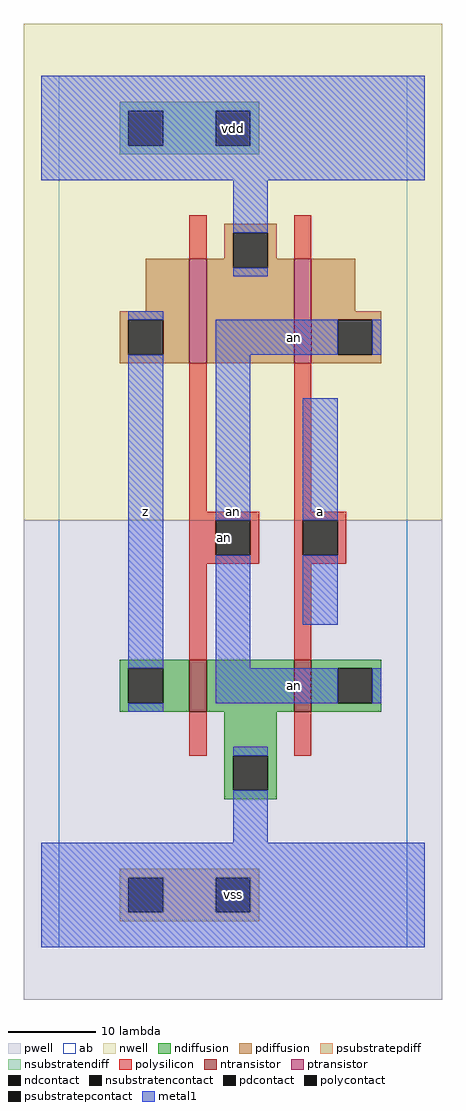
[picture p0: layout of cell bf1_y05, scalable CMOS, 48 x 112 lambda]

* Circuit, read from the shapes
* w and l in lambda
.subckt bf1_y05 a an vdd vss z
M1 vss an z vss nfet w=6 l=2
M2 an a vss vss nfet w=6 l=2
M3 vdd an z vdd pfet w=12 l=2
M4 an a vdd vdd pfet w=12 l=2
.ends

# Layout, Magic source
magic
tech scmos
<< ab >>
rect 0 0 40 100
<< pwell >>
rect -4 -6 44 49
<< nwell >>
rect -4 49 44 106
<< polysilicon >>
rect 15 79 17 84
rect 27 79 29 84
rect 15 50 17 67
rect 27 50 29 67
rect 15 49 23 50
rect 15 45 18 49
rect 22 45 23 49
rect 15 44 23 45
rect 27 49 33 50
rect 27 45 28 49
rect 32 45 33 49
rect 27 44 33 45
rect 15 33 17 44
rect 27 33 29 44
rect 15 22 17 27
rect 27 22 29 27
<< ndiffusion >>
rect 7 32 15 33
rect 7 28 8 32
rect 12 28 15 32
rect 7 27 15 28
rect 17 27 27 33
rect 29 32 37 33
rect 29 28 32 32
rect 36 28 37 32
rect 29 27 37 28
rect 19 22 25 27
rect 19 18 20 22
rect 24 18 25 22
rect 19 17 25 18
<< pdiffusion >>
rect 19 82 25 83
rect 19 79 20 82
rect 10 73 15 79
rect 7 72 15 73
rect 7 68 8 72
rect 12 68 15 72
rect 7 67 15 68
rect 17 78 20 79
rect 24 79 25 82
rect 24 78 27 79
rect 17 67 27 78
rect 29 73 34 79
rect 29 72 37 73
rect 29 68 32 72
rect 36 68 37 72
rect 29 67 37 68
<< metal1 >>
rect -2 88 42 100
rect 20 82 24 88
rect 20 77 24 78
rect 8 72 12 73
rect 8 32 12 68
rect 18 68 32 72
rect 36 68 37 72
rect 18 49 22 68
rect 18 32 22 45
rect 28 49 32 63
rect 28 37 32 45
rect 18 28 32 32
rect 36 28 37 32
rect 8 27 12 28
rect 20 22 24 23
rect 20 12 24 18
rect -2 0 42 12
<< ntransistor >>
rect 15 27 17 33
rect 27 27 29 33
<< ptransistor >>
rect 15 67 17 79
rect 27 67 29 79
<< polycontact >>
rect 18 45 22 49
rect 28 45 32 49
<< ndcontact >>
rect 8 28 12 32
rect 32 28 36 32
rect 20 18 24 22
<< pdcontact >>
rect 8 68 12 72
rect 20 78 24 82
rect 32 68 36 72
<< psubstratepcontact >>
rect 8 4 12 8
rect 18 4 22 8
<< nsubstratencontact >>
rect 8 92 12 96
rect 18 92 22 96
<< psubstratepdiff >>
rect 7 8 23 9
rect 7 4 8 8
rect 12 4 18 8
rect 22 4 23 8
rect 7 3 23 4
<< nsubstratendiff >>
rect 7 96 23 97
rect 7 92 8 96
rect 12 92 18 96
rect 22 92 23 96
rect 7 91 23 92
<< labels >>
rlabel polycontact 19 47 19 47 6 an
rlabel metal1 10 50 10 50 6 z
rlabel metal1 10 50 10 50 6 z
rlabel metal1 20 6 20 6 6 vss
rlabel metal1 20 6 20 6 6 vss
rlabel metal1 20 50 20 50 6 an
rlabel metal1 20 94 20 94 6 vdd
rlabel metal1 20 94 20 94 6 vdd
rlabel metal1 27 30 27 30 6 an
rlabel metal1 30 50 30 50 6 a
rlabel metal1 30 50 30 50 6 a
rlabel metal1 27 70 27 70 6 an
<< end >>
